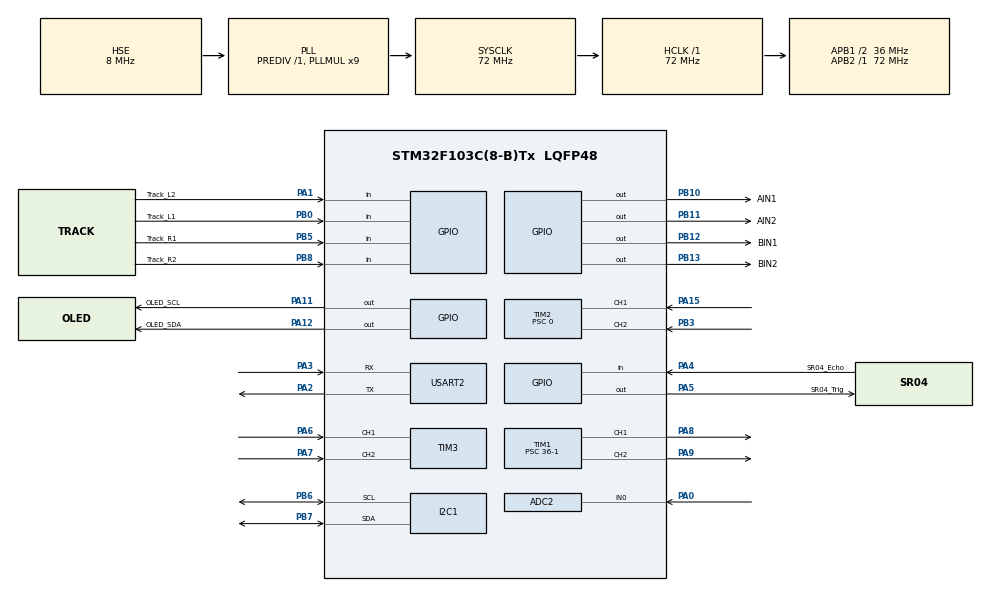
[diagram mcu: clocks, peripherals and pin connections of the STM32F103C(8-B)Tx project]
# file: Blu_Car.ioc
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ADC2.Channel-0\#ChannelRegularConversion=ADC_CHANNEL_0
ADC2.NbrOfConversionFlag=1
ADC2.Rank-0\#ChannelRegularConversion=1
ADC2.SamplingTime-0\#ChannelRegularConversion=ADC_SAMPLETIME_1CYCLE_5
Dma.Request0=USART2_RX
Dma.USART2_RX.0.Direction=DMA_PERIPH_TO_MEMORY
Dma.USART2_RX.0.Instance=DMA1_Channel6
Dma.USART2_RX.0.MemDataAlignment=DMA_MDATAALIGN_BYTE
Dma.USART2_RX.0.MemInc=DMA_MINC_ENABLE
Dma.USART2_RX.0.Mode=DMA_NORMAL
Dma.USART2_RX.0.PeriphDataAlignment=DMA_PDATAALIGN_BYTE
Dma.USART2_RX.0.PeriphInc=DMA_PINC_DISABLE
Dma.USART2_RX.0.Priority=DMA_PRIORITY_LOW
I2C1.I2C_Mode=I2C_Fast
Mcu.Family=STM32F1
Mcu.Name=STM32F103C(8-B)Tx
Mcu.Package=LQFP48
NVIC.DMA1_Channel6_IRQn=true\:0\:0\:false\:false\:true\:false\:true\:true
NVIC.PriorityGroup=NVIC_PRIORITYGROUP_4
NVIC.TIM4_IRQn=true\:0\:0\:false\:false\:true\:true\:true\:true
NVIC.USART2_IRQn=true\:0\:0\:false\:false\:true\:true\:true\:true
PA0-WKUP.Signal=ADCx_IN0
PA1.GPIO_Label=Track_L2
PA1.Signal=GPIO_Input
PA11.GPIO_Label=OLED_SCL
PA11.Signal=GPIO_Output
PA12.GPIO_Label=OLED_SDA
PA12.Signal=GPIO_Output
PA13.Mode=Serial_Wire
PA13.Signal=SYS_JTMS-SWDIO
PA14.Mode=Serial_Wire
PA14.Signal=SYS_JTCK-SWCLK
PA15.Signal=S_TIM2_CH1_ETR
PA2.Mode=Asynchronous
PA2.Signal=USART2_TX
PA3.Mode=Asynchronous
PA3.Signal=USART2_RX
PA4.GPIO_Label=SR04_Echo
PA4.Signal=GPIO_Input
PA5.GPIO_Label=SR04_Trig
PA5.Signal=GPIO_Output
PA6.Signal=S_TIM3_CH1
PA7.Signal=S_TIM3_CH2
PA8.Signal=S_TIM1_CH1
PA9.Signal=S_TIM1_CH2
PB0.GPIO_Label=Track_L1
PB0.GPIO_PuPd=GPIO_PULLDOWN
PB0.Signal=GPIO_Input
PB10.GPIO_Label=AIN1
PB10.Signal=GPIO_Output
PB11.GPIO_Label=AIN2
PB11.Signal=GPIO_Output
PB12.GPIO_Label=BIN1
PB12.Signal=GPIO_Output
PB13.GPIO_Label=BIN2
PB13.Signal=GPIO_Output
PB3.Signal=S_TIM2_CH2
PB5.GPIO_Label=Track_R1
PB5.Signal=GPIO_Input
PB6.Mode=I2C
PB6.Signal=I2C1_SCL
PB7.Mode=I2C
PB7.Signal=I2C1_SDA
PB8.GPIO_Label=Track_R2
PB8.Signal=GPIO_Input
PD0-OSC_IN.Mode=HSE-External-Oscillator
PD0-OSC_IN.Signal=RCC_OSC_IN
PD1-OSC_OUT.Mode=HSE-External-Oscillator
PD1-OSC_OUT.Signal=RCC_OSC_OUT
ProjectManager.HeapSize=0x200
ProjectManager.StackSize=0x400
ProjectManager.TargetToolchain=MDK-ARM V5.27
RCC.ADCPresc=RCC_ADCPCLK2_DIV6
RCC.AHBFreq_Value=72000000
RCC.APB1CLKDivider=RCC_HCLK_DIV2
RCC.APB1Freq_Value=36000000
RCC.APB1TimFreq_Value=72000000
RCC.APB2Freq_Value=72000000
RCC.APB2TimFreq_Value=72000000
RCC.HCLKFreq_Value=72000000
RCC.PLLMUL=RCC_PLL_MUL9
RCC.PLLSourceVirtual=RCC_PLLSOURCE_HSE
RCC.SYSCLKFreq_VALUE=72000000
RCC.SYSCLKSource=RCC_SYSCLKSOURCE_PLLCLK
RCC.USBFreq_Value=72000000
SH.ADCx_IN0.0=ADC2_IN0,IN0
SH.S_TIM1_CH1.0=TIM1_CH1,PWM Generation1 CH1
SH.S_TIM1_CH2.0=TIM1_CH2,PWM Generation2 CH2
SH.S_TIM2_CH1_ETR.0=TIM2_CH1,Encoder_Interface
SH.S_TIM2_CH2.0=TIM2_CH2,Encoder_Interface
SH.S_TIM3_CH1.0=TIM3_CH1,Encoder_Interface
SH.S_TIM3_CH2.0=TIM3_CH2,Encoder_Interface
TIM1.Channel-PWM\ Generation1\ CH1=TIM_CHANNEL_1
TIM1.Channel-PWM\ Generation2\ CH2=TIM_CHANNEL_2
TIM1.Period=100-1
TIM1.Prescaler=36-1
TIM2.EncoderMode=TIM_ENCODERMODE_TI12
TIM2.Period=65535
TIM2.Prescaler=0
TIM3.EncoderMode=TIM_ENCODERMODE_TI12
TIM4.Period=200-1
TIM4.Prescaler=7200-1
USART2.VirtualMode=VM_ASYNC
VP_TIM1_VS_ClockSourceINT.Mode=Internal
VP_TIM4_VS_ClockSourceINT.Mode=Internal
board=custom

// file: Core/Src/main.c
/* USER CODE BEGIN Header */
/**
 ******************************************************************************
 * @file           : main.c
 * @brief          : Main program body
 ******************************************************************************
 * @attention
 *
 * <h2><center>&copy; Copyright (c) 2025 STMicroelectronics.
 * All rights reserved.</center></h2>
 *
 * This software component is licensed by ST under BSD 3-Clause license,
 * the "License"; You may not use this file except in compliance with the
 * License. You may obtain a copy of the License at:
 *                        opensource.org/licenses/BSD-3-Clause
 *
 ******************************************************************************
 */
/* USER CODE END Header */
#include "main.h"
#include "adc.h"
#include "dma.h"
#include "i2c.h"
#include "tim.h"
#include "usart.h"
#include "gpio.h"

/* USER CODE BEGIN Includes */
#include <string.h>
#include "oled.h"
#include "font.h"
#include <stdio.h>
#include <stdlib.h>
#include "dht11.h"
// #include "max7219.h"
#include "key.h"
// #include "MPU6050.h"
#include "Blucar.h"
#include "PID.h"
#include "mpu6050.h"
#include "HCSR04.h"
#include "filter.h"
/* USER CODE END Includes */

/* USER CODE BEGIN PD */

#define RX_MAX_LEN 1024 // 定义足够大的接收缓冲区
#define RX_BUFFER_SIZE 512
#define RX_BLU_SIZE 256 // 定义缓冲区大小
#define free_state 0
#define singlepress 1
#define doublepress 2
#define longpress 3
#define WEATHER_KEY "SkauKTjXsbUijiTkw"
#define WEATHER_CITY "guangzhou"
// OneNET 配置信息
#define ONENET_PID "NW4ydVqKGU" // 产品 ID
#define ONENET_DEVICE "pro1"	// 设备名称
// 【注意】这里必须填计算出来的 Token (res=products/PID/devices/pro1)
#define ONENET_TOKEN "version=2018-10-31&res=products%2FNW4ydVqKGU%2Fdevices%2Fpro1&et=2541412770&method=md5&sign=2vCMFmP%2FtvBfhgw8YwXQDg%3D%3D"

// OneNET 物模型上报 Topic (固定格式)
#define TOPIC_POST "$sys/" ONENET_PID "/" ONENET_DEVICE "/thing/property/post"
/* USER CODE END PD */

/* USER CODE BEGIN PV */
PID_TypeDef Motor_PID_L;
PID_TypeDef Motor_PID_R;
// MPU6050 MM;
//extern MPU6050_t mpu;
extern MPU6050 mpu;
extern float Speed_Out;
extern float Upright_Out;

KalmanFilter KK1;
KalmanFilter KK2;

//循迹环PID参数
extern float Track_Kp;
extern float Track_Kd;
//速度环PID参数
extern float Speed_Kp;
extern float Speed_Ki;
//直立环PID参数
extern float Std_Kp;
extern float Std_Kd;
//机械零点
extern float BLANCE_ANGLE;

uint16_t pid;
char temp_str[10] = {0};
char weather_str[20] = {0};
char Car_dir;
// volatile uint8_t Car_Mode=1;
volatile uint8_t Blu_rx_buffer[RX_BUFFER_SIZE]; // 接收缓冲区
volatile uint8_t Blu_rx_len = 0;				// 接收到的数据长度
volatile uint8_t Blu_rx_ready = 0;				// 标志位：1表示收到新指令
volatile uint8_t RxBuffer[RX_MAX_LEN];			// DMA 原始接收桶
volatile uint16_t RxLen = 0;					// 实际接收长度
volatile uint8_t RecvEndFlag = 0;				// 接收完成标志
volatile static uint32_t stopcartime = 0;
/*
// === 惯性控制变量 ===
volatile int16_t Target_PWM_L = 0;  // 左轮目标速度
volatile int16_t Target_PWM_R = 0;  // 右轮目标速度
volatile int16_t Current_PWM_L = 0; // 左轮实际速度 (逐渐变化)
volatile int16_t Current_PWM_R = 0; // 右轮实际速度 (逐渐变化)
volatile uint8_t Speed_Update_Flag = 0; // 定时器触发标志
*/
volatile uint8_t Car_Mode = 1;			// 内部记录模式
volatile uint8_t Speed_Update_Flag = 0; // 内部记录时间标志
char http_buffer[512];					// 存放 HTTP 请求报文
char len_cmd[128];						// 存放长度指令
char process_buff[RX_BUFFER_SIZE];		// 【新增】用于解析的备份缓冲区
char rxbuff[RX_BUFFER_SIZE];
char Txbuff[35];
char message[256];
char dht11message[256];
char adc[10];
char onenetsend[512];
uint8_t oledflag = 0;
uint8_t txflag = 0;
volatile uint8_t rxflag = 0;
uint8_t sendflag = 0;
uint8_t weathergetflag = 0;
uint8_t lastweaflag = 0;
uint8_t btrysendflag = 0;
uint8_t stopcarflag = 0;
uint8_t SR04_send_flag = 0;
uint8_t speed_countflag = 0;
uint8_t Car_Trackflag = 0;
uint8_t debugflag=0;
volatile uint8_t rx_index = 0;
volatile uint8_t new_data_available = 0;
char oled[50];
uint8_t temperature = 0;
uint8_t humidity = 0;
uint16_t Car_speed = 0;
uint8_t doubleflag;
uint8_t singleflag;
uint8_t longflag;
uint8_t keyscanflag;
uint8_t wificheckflag;
uint8_t sr04_Readflag = 0;
uint8_t Mpuflag = 0;
uint8_t Actual_Speed = 35;
long pwmvalue;
float PID_L = 0;
float PID_R = 0;
// 全局变量记录脉冲
volatile long pulse_count_L = 0;
volatile long pulse_count_R = 0;
float Speed_L = 0.0f; // 当前速度 (cm/s)
float Speed_R = 0.0f;
/* 发送电量变量 */
uint32_t Last_Send_Time = 0;
char send_buf[30];

uint32_t Last_Cmd_Time = 0; // 全局变量，记录上次收到指令的时间
char line2[] = "Host: api.seniverse.com\r\n";
char line3[] = "Connection: close\r\n";
char line4[] = "\r\n"; // 【关键】最后的空行

float Target_Yaw = 0;	   // 目标朝向
uint8_t Yaw_Lock_Flag = 0; // 锁定标志位

// MPU6050 MM;
/* USER CODE END PV */

void SystemClock_Config(void);
/* USER CODE BEGIN PFP */
void send_at_command(const char *cmd);
void Get_Temp(void);
uint8_t MQTTRec(char *data);
void Set_Servo_Angle(TIM_HandleTypeDef *htim, uint32_t Channel, uint8_t angle);
void MQTThandle(void);
void oledshow(char *text, uint8_t x, uint8_t y);
void Get_Weather(void);
void Onenet_connect(void);
void Parse_Weather_Smart(void);
void Control_Car(uint8_t mode, uint8_t cmd, uint8_t speed);
void Car_btry(void);
void Car_Speed_Loop(void);
/* USER CODE END PFP */

int main(void)
{

	/* MCU Configuration--------------------------------------------------------*/

	/* Reset of all peripherals, Initializes the Flash interface and the Systick. */
	HAL_Init();

	/* Configure the system clock */
	SystemClock_Config();

	/* Initialize all configured peripherals */
	MX_GPIO_Init();
	MX_DMA_Init();
	MX_I2C1_Init();
	MX_TIM2_Init();
	MX_TIM4_Init();
	MX_TIM3_Init();
	MX_TIM1_Init();
	MX_USART2_UART_Init();
	MX_ADC2_Init();
	/* USER CODE BEGIN 2 */
	/*
	  send_at_command("AT+RST");
	  HAL_Delay (1000);
	  */

	SSD1306_Init();
	SSD1306_Clear();

	HAL_GPIO_WritePin(GPIOA, GPIO_PIN_5, GPIO_PIN_RESET); // servo IN1
	HAL_GPIO_WritePin(GPIOA, GPIO_PIN_7, GPIO_PIN_RESET); // servo IN2

	// onenet init

	// send_at_command("AT+CWJAP=\"Neo8\",\"2271902787\"");
	// HAL_Delay(1000);

	// send_at_command("AT+CWJAP=\"Xiaomi_D44B\",\"2271902787Ab\"");
	// HAL_Delay (4000);
	// send_at_command("AT+CIPSTART=\"TCP\",\"api.seniverse.com\",80");

	//DHT11_Init();
	SR04_Init();
	Motor_Init(); // 电机初始化
	PID_Init(&Motor_PID_L, 0.6f, 0.2f, 0.0f, 100.0f);
	PID_Init(&Motor_PID_R, 0.6f, 0.2f, 0.0f, 100.0f);
	Track_PID_Init(10, 5);
	// HAL_TIM_PWM_Start(&htim3, TIM_CHANNEL_1);

	MPU6050_init(&hi2c1);
	// MPU6050_Init(&mpu, &hi2c1,
    //                  MPU6050_GYRO_500DPS,
    //                  MPU6050_ACCEL_2G,
    //                  MPU6050_DLPF_44HZ);
	 // ★ 让姿态解算收敛 (Madgwick 前400次是快速收敛期)
    // 上电后静止等待2秒让四元数稳定
    for (uint16_t i = 0; i < 400; i++)
    {
        MPU6050_Get_Angle_Plus(&mpu);
        HAL_Delay(5);
    }
	//HAL_Delay(1000);
	Encoder_Init_Start();
	 // ★ 把当前姿态设为零点 (相当于自动找 BLANCE_ANGLE!)
    MPU6050_Set_Angle0(&mpu,&BLANCE_ANGLE);
	// 3. 执行校准 (此时千万不要动小车！)
	//MPU6050_Calibrate_Z(&hi2c1);
	//HAL_Delay(1000);
	// MPU6050_init(&hi2c1);
	// KalmanFilter_Init(&KK1,0.01,0.1,0,1);
	// KalmanFilter_Init(&KK2,0.01,0.1,0,1);
	// HAL_TIM_Base_Start(&htim4);
	// HAL_UART_Receive_IT(&huart1, (uint8_t*)&rxbuff[0], 1);

	// 1. 开启 IDLE 中断
	//__HAL_UART_ENABLE_IT(&huart1, UART_IT_IDLE);
	// 2. 开启 DMA 接收 (CPU 可以去玩了，DMA 会干活)
	// HAL_UART_Receive_DMA(&huart1, (uint8_t*)Blu_rx_buffer, RX_BLU_SIZE);

	HAL_UARTEx_ReceiveToIdle_DMA(&huart2, (uint8_t *)Blu_rx_buffer, RX_BLU_SIZE); // 手动开启串口DMA模式接收数据
	//__HAL_DMA_DISABLE_IT(&hdma_usart2_rx, DMA_IT_HT);

	HAL_TIM_Base_Start_IT(&htim4);
	//__HAL_TIM_SET_COMPARE(&htim1, TIM_CHANNEL_1,0);
	// HAL_ADC_Start(&hadc1);
	// HAL_TIM_Encoder_Start(&htim4,TIM_CHANNEL_ALL);
    oledshow("ok", 0, 20);
	/* USER CODE END 2 */

	/* Infinite loop */
	/* USER CODE BEGIN WHILE */
	while (1)
	{
        //  static uint16_t L_TEST,R_TEST=0;
      //Car_Motor_Output('A',2,5000,5000);
		if(oledflag){
			oledflag=0;

			SSD1306_UpdateScreen();
		}

		if(debugflag){
			debugflag=0;
			float Angle_X = mpu.roll ;
			float Gyro_X  = mpu.GyroX/ 16.4f;
			float Gyro_Z  = mpu.GyroZ/ 16.4f;
			char debug_buf[128];
			int len = snprintf(debug_buf, sizeof(debug_buf),
				"[DBG,%.2f,%.2f,%.1f,%.1f,%.1f,%.1f,%.1f,%.1f,%.1f,%.1f]\r\n",Angle_X,

                BLANCE_ANGLE,

                Gyro_X,

                Gyro_Z,

                Upright_Out,

                Speed_Out,

                Speed_L,

                Speed_R,

                Std_Kp,

                Std_Kd

        );
			HAL_UART_Transmit(&huart2, (uint8_t *)debug_buf, strlen(debug_buf), 100);
		}

		if (Mpuflag)
		{
			Mpuflag = 0;
            MPU6050_Get_Angle_Plus(&mpu);
			Car_selfbalance(Car_speed,Car_dir);

		}

		// HAL_Delay(1000);

		/* main.c 的 while(1) 循环内 */

		if (myCar.Mode == 4)
		{
			if (Car_Trackflag)
			{
				Car_Trackflag = 0;
				Car_Track_Line(&myCar, &mpu); // 循迹函数
			}
		}

		if (sr04_Readflag)
		{
			sr04_Readflag = 0;
			if (myCar.Mode == 4)
			{
				// Car_AutoRun(&myCar);
			}
		}

		if (speed_countflag)
		{
			speed_countflag = 0;

			/*
			   // 3. PID 计算 (现在正负号对齐了，PID 就能正常工作了)
			   float PWM_L,PWM_R ;

		  // 3. 特殊处理：如果目标速度是 0，直接关断，不要用 PID 反转刹车
		  // 这能解决“松手高速甩一下”的问题
		   if (Car_speed == 0)
		   {
				PWM_L = 0;
				PWM_R = 0;

				// 只有在确定要停车时，才复位 PID，防止下次启动冲出去
				PID_Reset(&Motor_PID_L);
				PID_Reset(&Motor_PID_R);
		   }
		   else
		   {
				// 正常行驶：进行 PID 计算
				// 注意：这里绝对不要调用 PID_Reset！

					PWM_L = PID_Compute(&Motor_PID_L, speed_L, Car_speed); // 注意参数顺序：通常是(PID, 目标, 实际)
					PWM_R = PID_Compute(&Motor_PID_R, speed_R, Car_speed);

				// 可选：在这里可以加一个“防反转”逻辑
				// 如果你不希望车子为了减速而反转电机（保护牙箱），可以限制最小值为 0
				// if(Car_dir == 'A' && PWM_L < 0) PWM_L = 0;
				// if(Car_dir == 'A' && PWM_R < 0) PWM_R = 0;
		   }
		   */
			/*
		   MPU6050_Get_Angle(&MM);
		 float newroll=KalmanFilter_Update(&KK1,MM.roll);
		  float newpitch=KalmanFilter_Update(&KK2,MM.pitch);
			*/
			// MPU6050_Read_All(&hi2c1,&mpu);

			// 4. 执行输出
			// Car_Wheelspd(Car_dir,&myCar,(int16_t)PWM_L, (int16_t)PWM_R);

			// 修改你的打印语句，增加 PWM_L 和 PWM_R
			// sprintf(Txbuff, "[L:PWM=%.1f] [R:PWM=%.1f]",PWM_L, PWM_R);
			//sprintf(send_buf, "[Spd,%.1f,%.1f]", speed_L, speed_R);
			//sprintf(Txbuff, "[x:%.1f,y:%.1f,z:%.1f]", mpu.KalmanAngleX, mpu.KalmanAngleY, mpu.KalmanAngleZ);
			// sprintf(Txbuff, "[x:%.1f,y:%.1f,z:%.1f]", mpu.angle_roll,
            //        mpu.angle_pitch,
            //        mpu.angle_yaw);

				//    sprintf(oled, "x:%.1f", mpu.angle_roll);
				//    oledshow(oled, 0,0);
				//    sprintf(oled, "y:%.1f", mpu.angle_pitch);
				//    oledshow(oled, 0, 20);
				//    sprintf(oled, "z:%.1f", mpu.angle_yaw);
				//    oledshow(oled, 0, 40);
				// float Angle_X = mpu.angle_roll;
				// float Gyro_X  = mpu.gyro_dps[0];
				float Angle_X=mpu.roll;
				float Gyro_X=mpu.GyroX/16.4;
				sprintf(oled, "L:%.1f",Speed_L);
				   oledshow(oled, 0,20);
				   sprintf(oled, "gx:%.1f", Gyro_X);
				   oledshow(oled, 0, 30);
				    sprintf(oled, "a:%d",mpu.AccZ);
				   oledshow(oled, 0,40);

				  sprintf(oled, "x:%.1f",Angle_X);
				   oledshow(oled, 50 , 20);
				     sprintf(oled, "R:%.1f", Speed_R);
				   oledshow(oled, 50, 30);
				  sprintf(oled, "u:%.1f",Upright_Out);
				   oledshow(oled, 50, 40);
				// sprintf(oled, "L:%.1f",Speed_L);
				// oledshow(oled, 0,0);
				// sprintf(oled, "R:%.1f",Speed_R);
				// oledshow(oled, 0,20);
		}

		// if (keyscanflag == 1)
		// {
		// 	keyscanflag = 0;
		// 	Keyscan();
		// }

		// === 电压测量与发送 (没指令时每5秒发一次) ===
		if (btrysendflag)
		{

			btrysendflag = 0;
			Car_Report_Status();
		}

		if (Speed_Update_Flag)
		{
			Speed_Update_Flag = 0;
			// Motor_PID_R.Target=Car_speed;
			// pid =PID_Compute(&Motor_PID_R,35);
			if (myCar.Mode != 3 && myCar.Mode != 4)
			{
				//Car_Wheelspd(Car_dir, &myCar, Car_speed, Car_speed);
			}
			// Car_Speed_Handle(&myCar);
		}

		if (SR04_send_flag)
		{
			SR04_send_flag = 0;

			// 第一步：触发测距并更新全局变量
			g_Distance = SR04_Read();

			// 第二步：把距离数据打包进 send_buf
			sprintf(send_buf, "[Sonic,%.2f]\r\n", g_Distance);

			// 第三步：把打包好的 send_buf 发送出去
			HAL_UART_Transmit(&huart2, (uint8_t *)send_buf, strlen(send_buf), 100);

			// 如果你还需要发陀螺仪的数据，紧接着发 Txbuff
			HAL_UART_Transmit(&huart2, (uint8_t *)Txbuff, strlen(Txbuff), 100);
			// printf("[%.2f,%.2f,%.4f]\n",MM.pitch,MM.roll,MM.yaw);//使用串口发送数据
		}

		// 蓝牙接收处理
		//  检查是否有新数据
		if (Blu_rx_ready == 1)
		{
			Blu_rx_ready = 0; // 清除标志位

			HAL_UART_Transmit(&huart, (uint8_t *)&Blu_rx_buffer, Blu_rx_len, 100);

			// 永远只找最后一个 '['，忽略前面积压的旧数据
			//char *p = strrchr((char *)Blu_rx_buffer, '[');

			// ? 终极解析算法：寻找最后一个【完整】的指令包
    // ============================================================
			char *p = NULL;
			// 1. 先找最后一个闭合括号 ']'，确保指令是完整的
			char *end_ptr = strrchr((char *)Blu_rx_buffer, ']');

			if (end_ptr != NULL)
			{
				// 2. 从 ']' 的位置开始，倒退着往前找，直到找到匹配的 '['
				char *start_ptr = end_ptr;
				while (start_ptr >= (char *)Blu_rx_buffer && *start_ptr != '[')
				{
					start_ptr--;
				}

				// 3. 如果找到了 '['，说明截取出了一个 100% 完美的包！
				if (*start_ptr == '[')
				{
					p = start_ptr; // 把完美的指针交给 p，让后面的代码去解析
				}
			}
			// 1. 定义临时变量 (int 类型)
			int temp_speed = 0;
			int temp_mode = 0;
			// if(strstr((char*)Blu_rx_buffer,"[Car")!=NULL)
			// 解析接收的指令
			if (p != NULL)
			{
				if (sscanf(p, "[Car,%[^,],%d]", &Car_dir, &temp_speed) == 2)
				{

					stopcartime = 0;
					stopcarflag = 0;
					if (myCar.Mode != 3 && myCar.Mode != 4)
					{
						// 3. 安全赋值 (把 int 转回 uint16_t)
						Car_speed = (uint16_t)temp_speed;
						;
						//如果速度为0，强制复位所有状态，防止下次启动乱跑
						if (Car_speed == 0)
						{
							Car_dir = 'S';  // ? 新增：明确告诉全身，现在是停车状态！
							PID_Reset(&Motor_PID_L);
							PID_Reset(&Motor_PID_R);
							//Car_Wheelspd('S', &myCar, 0, 0); // 立即执行一次停车
						}
						// Car_Run(&myCar,Car_dir,Car_speed);
					}
					// printf("Car_dir:%c,speed:%d",Car_dir,Car_speed);
				}

				// 获取小程序控制模式
				if (sscanf(p, "[Mode,%d]", &temp_mode) == 1)
				{
					stopcartime = 0;
					//Set_Servo_Angle(&htim1, TIM_CHANNEL_1, 90);
					myCar.Mode = (uint8_t)temp_mode;
				}

				// 接收小程序指令，立马发送一次电量
				if (strstr(p, "[Connect]") != NULL)
				{
					Car_Report_Status();
				}

				// ====== 4. ? 终极三段式 PID 调参解析 ======
				char loop_name[15] = {0}; // 存环名，如 spd, track, upright
				char key_name[10] = {0};  // 存参数名，如 Kp, Kd
				float var_value = 0.0f;   // 存具体数值

				// 魔法提取：一口气抓取 环名、键名、数值 (必须成功提取3个才往下走)
				if (sscanf(p, "[%[^,],%[^,],%f]", loop_name, key_name, &var_value) == 3)
				{
					//oledshow("666", 0, 40); // 屏幕显示 666，证明解析通道彻底打通！

					// ? 极其关键的拦截网！防止 [Car,F,50] 混进来捣乱
					// 只有当环名是我们规定的这三个时，才允许往下执行
					if (strcmp(loop_name, "upright") == 0 ||
						strcmp(loop_name, "Track") == 0 ||
						strcmp(loop_name, "Spd") == 0 ||
						strcmp(loop_name, "Zero") == 0)
					{
						// 绝对安全的字符串转浮点数

						//oledshow("666", 0, 40); // 屏幕显示 666，证明成功破防！

						/* ----------- A. 直立环 (Upright) ----------- */
						if (strcmp(loop_name, "upright") == 0)
						{
							if (strcmp(key_name, "Kp") == 0) {
								Std_Kp = var_value; // ?? 填写真实的直立 Kp 变量名
							}
							else if (strcmp(key_name, "Kd") == 0) {
								Std_Kd = var_value; // ?? 填写真实的直立 Kd 变量名
							}

						}

						/* ----------- B. 循迹环 (Track) ----------- */
						else if (strcmp(loop_name, "Track") == 0)
						{
							if (strcmp(key_name, "Kp") == 0) {
								Track_Kp = var_value;
							}
							else if (strcmp(key_name, "Kd") == 0) {
								Track_Kd = var_value;
							}
							else if (strcmp(key_name, "Speed") == 0) {
								// Track_Speed = var_value;
							}

						}

						/* ----------- C. 速度环 (Speed) ----------- */
						else if (strcmp(loop_name, "Spd") == 0)
						{
							if (strcmp(key_name, "Kp") == 0) {
								Speed_Kp = var_value; // ?? 取消注释并替换变量
							}
							else if (strcmp(key_name, "Ki") == 0) {
								Speed_Ki = var_value; // ?? 取消注释并替换变量
							}

							// PID_Init(&Motor_PID_L, Speed_Kp, Speed_Ki, 0, 100);
							// PID_Init(&Motor_PID_R, Speed_Kp, Speed_Ki, 0, 100);

						}

						//机械零点
						if (strcmp(loop_name, "Zero") == 0)
						{
							if (strcmp(key_name, "Z") == 0) {
								BLANCE_ANGLE = var_value; // ?? 取消注释并替换变量
							}
						}
				}
				memset((char *)Blu_rx_buffer, 0, RX_BLU_SIZE);
			}
		}
			Blu_rx_len = 0;
			HAL_UARTEx_ReceiveToIdle_DMA(&huart2, (uint8_t *)Blu_rx_buffer, RX_BLU_SIZE); /// 接收完毕后重启串口DMA模式接收数据
																						  /*
																						  //舵机控制
																						  if(strstr((char*)Blu_rx_buffer,"1")!=NULL){
																							 Set_Servo_Angle(&htim2,TIM_CHANNEL_1,0);
																						 }

																						  int n;
																						 static uint32_t last_servo_time = 0; // 记录上次动舵机的时间
																						  static uint8_t last_servo_angle = 255; // 初始值设为一个不可能的角度，确保第一次能执行
																							 if (sscanf((char*)Blu_rx_buffer, "[slider,1,%d]", &n) == 1)
																						  {
																								 // 3. 安全限幅 (防止手机发来 200 把舵机烧了)
																								 if(n < 0) n = 0;
																								 if(n > 100) n = 100;

																								 // 4. 映射计算
																								 // 输入: 0~100
																								 // 输出: 0~180 度
																								 // 公式: 角度 = (数值 / 100.0) * 180
																								 uint8_t servo_angle = (uint8_t)(n * 1.6);
																										 printf("n为:%d",n);

																									 if (abs(servo_angle - last_servo_angle) > 3)
																									 {
																										  // === 新增：时间限制 ===
																										  // 只有距离上次操作超过 100ms (0.1秒) 才允许再次动舵机
																										  if (HAL_GetTick() - last_servo_time > 100)
																										  {
																											   Set_Servo_Angle(&htim2, TIM_CHANNEL_1, servo_angle);
																											   last_servo_angle = servo_angle;
																											   last_servo_time = HAL_GetTick(); // 更新时间戳
																										  }
																									 }

																						  }

																						 // 处理接收到的蓝牙指令
																						 // 假设指令是单个字符：rx_buffer[0]
																						 // 如果指令是字符串（如 "GO"），可以用 strcmp 判断

																						 // 简单示例：取第一个字节控制
																						 //Control_Car(Blu_rx_buffer[0]);
																						  //printf("数据:%d:",Blu_rx_buffer[0]);
																						 // 调试：如果你有 OLED，可以在这里打印 rx_buffer 看看收到了啥
																						   */
		}

		// 看门狗,超时强制停车,防止小车失控
		if (stopcarflag)
		{
			stopcarflag = 0;

				Car_speed = 0; // 必须清零！否则下个 10ms 循环又把它启动了
				Car_dir = 'S'; // 方向归位
				Car_Force_Stop(&myCar);

		}

		if (weathergetflag == 1)
		{

			lastweaflag = weathergetflag;
			weathergetflag = 0;
		}

		if (sendflag)
		{

			Onenet_connect();
			sendflag = 0;
		}

		/* USER CODE END WHILE */

	}
}

void SystemClock_Config(void)
{
	RCC_OscInitTypeDef RCC_OscInitStruct = {0};
	RCC_ClkInitTypeDef RCC_ClkInitStruct = {0};
	RCC_PeriphCLKInitTypeDef PeriphClkInit = {0};

	/** Initializes the RCC Oscillators according to the specified parameters
	 * in the RCC_OscInitTypeDef structure.
	 */
	RCC_OscInitStruct.OscillatorType = RCC_OSCILLATORTYPE_HSE;
	RCC_OscInitStruct.HSEState = RCC_HSE_ON;
	RCC_OscInitStruct.HSEPredivValue = RCC_HSE_PREDIV_DIV1;
	RCC_OscInitStruct.HSIState = RCC_HSI_ON;
	RCC_OscInitStruct.PLL.PLLState = RCC_PLL_ON;
	RCC_OscInitStruct.PLL.PLLSource = RCC_PLLSOURCE_HSE;
	RCC_OscInitStruct.PLL.PLLMUL = RCC_PLL_MUL9;
	if (HAL_RCC_OscConfig(&RCC_OscInitStruct) != HAL_OK)
	{
		Error_Handler();
	}
	/** Initializes the CPU, AHB and APB buses clocks
	 */
	RCC_ClkInitStruct.ClockType = RCC_CLOCKTYPE_HCLK | RCC_CLOCKTYPE_SYSCLK | RCC_CLOCKTYPE_PCLK1 | RCC_CLOCKTYPE_PCLK2;
	RCC_ClkInitStruct.SYSCLKSource = RCC_SYSCLKSOURCE_PLLCLK;
	RCC_ClkInitStruct.AHBCLKDivider = RCC_SYSCLK_DIV1;
	RCC_ClkInitStruct.APB1CLKDivider = RCC_HCLK_DIV2;
	RCC_ClkInitStruct.APB2CLKDivider = RCC_HCLK_DIV1;

	if (HAL_RCC_ClockConfig(&RCC_ClkInitStruct, FLASH_LATENCY_2) != HAL_OK)
	{
		Error_Handler();
	}
	PeriphClkInit.PeriphClockSelection = RCC_PERIPHCLK_ADC;
	PeriphClkInit.AdcClockSelection = RCC_ADCPCLK2_DIV6;
	if (HAL_RCCEx_PeriphCLKConfig(&PeriphClkInit) != HAL_OK)
	{
		Error_Handler();
	}
}

/* USER CODE BEGIN 4 */

int fputc(int ch, FILE *f)
{
	HAL_UART_Transmit(&huart2, (uint8_t *)&ch, 1, 100);
	return ch;
}

void Set_Servo_Angle(TIM_HandleTypeDef *htim, uint32_t Channel, uint8_t angle)
{
	uint16_t pulse_width = 500 + (angle / 180.0) * 2000;
	__HAL_TIM_SET_COMPARE(htim, Channel, pulse_width);
	HAL_Delay(15);
}

uint8_t MQTTRec(char *data)
{
	if (strstr(rxbuff, "+MQTTSUBRECV:") != NULL && strstr(rxbuff, data) != NULL)
	{
		return 1;
	}
	else
		return 0;
}

void oledshow(char *text, uint8_t x, uint8_t y)
{
	 char buf[22];
    uint8_t i = 0;
    while (text[i] != '\0' && i < 16) {
        buf[i] = text[i];
        i++;
    }
    while (i < 16) {
        buf[i] = ' ';
        i++;
    }
    buf[i] = '\0';

    SSD1306_GotoXY(x, y);
    SSD1306_Puts(buf, &Font_7x10, SSD1306_COLOR_WHITE);
	// SSD1306_GotoXY(x, y);

	// SSD1306_Puts(text, &Font_7x10, 1);
	//SSD1306_UpdateScreen();
}

void Onenet_connect(void)
{
	if (lastweaflag == 1)
	{
		HAL_UART_Transmit(&huart2, (uint8_t *)"AT+CIPCLOSE\r\n", 13, 100);
		HAL_Delay(500);
		snprintf(onenetsend, sizeof(onenetsend), "AT+MQTTUSERCFG=0,1,\"%s\",\"%s\",\"%s\",0,0,\"\"\r\n", ONENET_DEVICE, ONENET_PID, ONENET_TOKEN);
		send_at_command(onenetsend);
		// send_at_command("AT+MQTTUSERCFG=0,1,\"%s\",\"%s\",\"%s\",0,0,\"\"\r\n",ONENET_DEVICE,ONENET_PID,ONENET_TOKEN);
		HAL_Delay(500);
		send_at_command("AT+MQTTCONN=0,\"mqtts.heclouds.com\",1883,1\r\n");
		// 3. 连接 OneNET MQTT 服务器

		HAL_Delay(1000); // 连接需要时间，必须延时！
		snprintf(onenetsend, sizeof(onenetsend), "AT+MQTTSUB=0,\"$sys/%s/%s/thing/property/post/reply\",0\r\n", ONENET_PID, ONENET_DEVICE);
		send_at_command(onenetsend);
		// send_at_command("AT+MQTTSUB=0,\"$sys/NW4ydVqKGU/pro1/thing/property/post/reply\",0\r\n");

		// 4. 构造物模型 JSON 数据
		// 假设 OneNET 平台上有 identifier 为 "temperature" 和 "humidity" 的属性

		HAL_Delay(1000);
		snprintf(onenetsend, sizeof(onenetsend), "AT+MQTTSUB=0,\"$sys/%s/%s/thing/property/set\",0\r\n", ONENET_PID, ONENET_DEVICE);
		send_at_command(onenetsend);
		// send_at_command("AT+MQTTSUB=0,\"$sys/NW4ydVqKGU/pro1/thing/property/set\",0\r\n");
		HAL_Delay(1000);
		lastweaflag = 0;
	}

	Get_Temp();
	snprintf(onenetsend, sizeof(onenetsend), "AT+MQTTPUB=0,\"%s\",\"{\\\"id\\\":\\\"123\\\"\\,\\\"params\\\":{\\\"hum\\\":{\\\"value\\\":%d}\\,\\\"temp\\\":{\\\"value\\\":%d}}}\",0,0\r\n", TOPIC_POST, humidity, temperature);
	// snprintf(onenetsend,sizeof(onenetsend),"AT+MQTTPUB=0,\"%s\",\"{\\\"id\\\":\\\"123\\\"\\,\\\"params\\\":{\\\"hum\\\":{\\\"value\\\":%d}\\,\\\"temp\\\":{\\\"value\\\":%d}\\,\\\"weather\\\":{\\\"value\\\":\\\"%s\\\"}}}\",0,0\r\n",TOPIC_POST,humidity,temperature,weather_str);
	send_at_command(onenetsend);
	if (weathergetflag)
	{
		snprintf(onenetsend, sizeof(onenetsend), "AT+MQTTPUB=0,\"$sys/NW4ydVqKGU/pro1/thing/property/post\",\"{\\\"id\\\":\\\"123\\\"\\,\\\"params\\\":{\\\"weather\\\":{\\\"value\\\":\\\"%s\\\"}}}\",0,0\r\n", weather_str);
		send_at_command(onenetsend);
	}
}

void HAL_UARTEx_RxEventCallback(UART_HandleTypeDef *huart, uint16_t Size)
{
	if (huart->Instance == USART2)
	{
		// 1. 保存接收到的数据长度 (关键修正！)
		Blu_rx_len = Size;

		Blu_rx_ready = 1;
		//__HAL_DMA_DISABLE_IT(&hdma_usart1_rx, DMA_IT_HT);		   		// 手动关闭DMA_IT_HT中断
		// 清除接收缓存
	}
}

/*
// --- 核心优化：处理空闲中断 (IDLE) ---
void USER_UART_IDLECallback(UART_HandleTypeDef *huart)
{
	if(huart->Instance == USART1)
	{
		// 检查是否是空闲中断 (数据发完了，总线停了)
		if(__HAL_UART_GET_FLAG(huart, UART_FLAG_IDLE) != RESET)
		{
			// 1. 清除 IDLE 标志
			__HAL_UART_CLEAR_IDLEFLAG(huart);

			// 2. 停止 DMA 接收 (为了计算收到了多少字节)
			HAL_UART_DMAStop(huart);

			// 3. 计算数据长度
			// 总长度 - DMA剩余待接收长度 = 实际接收长度
			Blu_rx_len = RX_BLU_SIZE - __HAL_DMA_GET_COUNTER(huart->hdmarx);

			// 4. 只有收到数据才处理
			if(Blu_rx_len > 0)
			{
				Blu_rx_ready = 1; // 告诉主循环：有一整包数据到了！

				// 为了配合 strstr，我们在数据末尾补一个 '\0'
				// 注意不要越界
				if(Blu_rx_len < RX_BLU_SIZE) Blu_rx_buffer[Blu_rx_len] = 0;
			}

			// 5. 重启 DMA，准备接下一包
			HAL_UART_Receive_DMA(huart, (uint8_t*)Blu_rx_buffer, RX_BLU_SIZE);
		}
	}

}
*/

void HAL_TIM_PeriodElapsedCallback(TIM_HandleTypeDef *htim)
{

	if (htim->Instance == TIM4)
	{
		static uint32_t keycount = 0;
		static uint32_t btrysendtime = 0;
		static uint32_t sr04_Readtime = 0;
		static uint32_t sr04_sendtime = 0;
		static uint32_t speed_counttime = 0;
		static uint32_t oled_showtime = 0;
		static uint32_t debug_showtime = 0;

 			 MPU6050_Get_Angle_Plus(&mpu);
			//MPU6050_Read_All(&hi2c1, &mpu);
			//MPU6050_Update(&mpu);
			Car_Getspd(&Speed_L,&Speed_R);

			Car_selfbalance(Car_speed,Car_dir);

		if (myCar.Mode == 4)
		{
			Car_Trackflag = 1;
		}
		//Speed_Update_Flag = 1;

		if(++debug_showtime>=10)
		{
			debug_showtime=0;
			debugflag = 1;
			//printf("L:%f,R:%f\n",Speed_L,Speed_R);
			 //printf("roll:%.2f,pitch:%.2f\n",mpu.angle_roll,mpu.angle_pitch);
			 //printf("gx:%.2f,gy:%.2f\n",mpu.gyro_dps[0],mpu.gyro_dps[1]);
			 //printf("ax:%d,ay:%d,az:%d\n",mpu.AccX,mpu.AccY,mpu.AccZ);
			 //printf("Angle_X:%.2f,Gyro_X:%.2f\n",Angle_X,Gyro_X);
			 //printf("Upright_Out:%.2f\n",Upright_Out);
			 //printf("Distance:%.2f\n",g_Distance);
			 //printf("Temp:%d,Hum:%d\n",temperature,humidity);
			 //printf("Weather:%s\n",weather_str);
		}

		if (++speed_counttime >= 1)
		{
			speed_countflag = 1;
			speed_counttime = 0;
		}

		if (++oled_showtime >= 40)
		{
			oledflag = 1;
			oled_showtime = 0;
		}

		Mpuflag = 1;
		// if (++keycount >= 1)
		// { // 每10ms扫描一次按键
		// 	keycount = 0;
		// 	keyscanflag = 1;

		// }

		if (myCar.Target_Speed == 0)
		{
			if (++btrysendtime > 1000)
			{
				btrysendtime = 0;
				btrysendflag = 1;
			}
		}
		else
			btrysendtime = 0;

		// if (myCar.Mode != 3 && myCar.Mode != 4)
		// {

		// 	if (++stopcartime > 60)
		// 	{
		// 		stopcartime = 31;
		// 		stopcarflag = 1;
		// 	}
		// }
		// else
		// {
		// 	stopcartime = 0; // 如果是模式3或4，一直喂狗，保持活跃
		// }

		if (++sr04_Readtime >= 20)
		{
			sr04_Readflag = 1;
			sr04_Readtime = 0;
		}

		// if (++sr04_sendtime >= 200)
		// {
		// 	sr04_sendtime = 0;
		// 	SR04_send_flag = 1;
		// }
		/*
		// 5秒定时
		if(++weathersendcount >= 6000)
		{
		  weathersendcount = 0;
		  weathergetflag = 1;  // 触发数据发送
		}
		if(weathergetflag){
			if(++dht11sendcount >= 500){
				dht11sendcount=0;
				sendflag=1;
			}
		}
		*/
	}
}

void HAL_GPIO_EXTI_Callback(uint16_t GPIO_Pin)
{
	if (GPIO_Pin == GPIO_PIN_6) // 假设你接的是 PA0
	{
		pulse_count_L++;
	}
	if (GPIO_Pin == GPIO_PIN_4) // 假设你接的是 PA0
	{
		pulse_count_R++;
	}
}

void send_at_command(const char *cmd)
{
	HAL_UART_Transmit(&huart2, (uint8_t *)cmd, strlen(cmd), 100);
	HAL_UART_Transmit(&huart2, (uint8_t *)"\r\n", 2, 100);
}
void Get_Temp(void)
{
	DHT11_Data_TypeDef DHT11_Data;
	if (DHT11_Read_TempAndHumidity(&DHT11_Data) == SUCCESS)
	{
		temperature = DHT11_Data.temperature;
		humidity = DHT11_Data.humidity;
	}
}
/* USER CODE END 4 */

void Error_Handler(void)
{
	__disable_irq();
	while (1)
	{
	}
}

/************************ (C) COPYRIGHT STMicroelectronics *****END OF FILE****/
